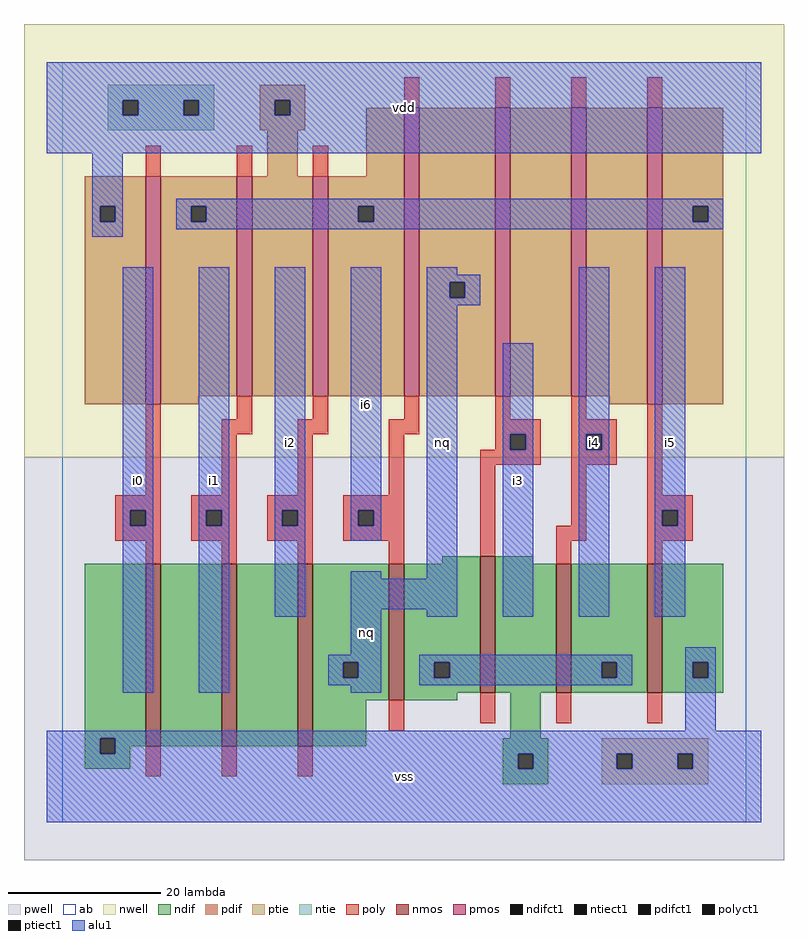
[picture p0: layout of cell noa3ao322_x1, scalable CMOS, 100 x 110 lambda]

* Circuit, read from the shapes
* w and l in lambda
.subckt noa3ao322_x1 i0 i1 i2 i3 i4 i5 i6 nq vdd vss
M1 n1 i0 vss vss nfet w=24 l=2
M2 n2 i1 n1 vss nfet w=24 l=2
M3 nq i2 n2 vss nfet w=24 l=2
M4 n3 i6 nq vss nfet w=18 l=2
M5 vss i3 n3 vss nfet w=18 l=2
M6 n3 i4 vss vss nfet w=17 l=2
M7 vss i5 n3 vss nfet w=17 l=2
M8 n4 i0 vdd vdd pfet w=30 l=2
M9 vdd i1 n4 vdd pfet w=29 l=2
M10 n4 i2 vdd vdd pfet w=29 l=2
M11 nq i6 n4 vdd pfet w=38 l=2
M12 n5 i3 nq vdd pfet w=38 l=2
M13 n6 i4 n5 vdd pfet w=38 l=2
M14 n4 i5 n6 vdd pfet w=39 l=2
.ends

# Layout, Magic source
magic
tech scmos
<< ab >>
rect 0 0 90 100
<< nwell >>
rect -5 48 95 105
<< pwell >>
rect -5 -5 95 48
<< poly >>
rect 45 94 47 98
rect 57 94 59 98
rect 67 94 69 98
rect 77 94 79 98
rect 11 85 13 89
rect 23 85 25 89
rect 33 85 35 89
rect 11 43 13 55
rect 23 53 25 56
rect 33 53 35 56
rect 45 53 47 56
rect 21 51 25 53
rect 31 51 35 53
rect 43 51 47 53
rect 57 53 59 56
rect 67 53 69 56
rect 57 51 63 53
rect 21 43 23 51
rect 31 43 33 51
rect 43 43 45 51
rect 57 49 59 51
rect 61 49 63 51
rect 7 41 13 43
rect 7 39 9 41
rect 11 39 13 41
rect 7 37 13 39
rect 17 41 23 43
rect 17 39 19 41
rect 21 39 23 41
rect 17 37 23 39
rect 27 41 33 43
rect 27 39 29 41
rect 31 39 33 41
rect 27 37 33 39
rect 37 41 45 43
rect 37 39 39 41
rect 41 39 45 41
rect 37 37 45 39
rect 11 34 13 37
rect 21 34 23 37
rect 31 34 33 37
rect 43 34 45 37
rect 55 47 63 49
rect 67 51 73 53
rect 67 49 69 51
rect 71 49 73 51
rect 67 47 73 49
rect 55 35 57 47
rect 67 39 69 47
rect 65 37 69 39
rect 77 43 79 55
rect 77 41 83 43
rect 77 39 79 41
rect 81 39 83 41
rect 77 37 83 39
rect 65 34 67 37
rect 77 34 79 37
rect 43 12 45 16
rect 55 13 57 17
rect 65 13 67 17
rect 77 13 79 17
rect 11 6 13 10
rect 21 6 23 10
rect 31 6 33 10
<< ndif >>
rect 50 34 55 35
rect 3 11 11 34
rect 3 9 5 11
rect 7 10 11 11
rect 13 10 21 34
rect 23 10 31 34
rect 33 21 43 34
rect 33 19 37 21
rect 39 19 43 21
rect 33 16 43 19
rect 45 21 55 34
rect 45 19 49 21
rect 51 19 55 21
rect 45 17 55 19
rect 57 34 62 35
rect 57 17 65 34
rect 67 21 77 34
rect 67 19 71 21
rect 73 19 77 21
rect 67 17 77 19
rect 79 21 87 34
rect 79 19 83 21
rect 85 19 87 21
rect 79 17 87 19
rect 45 16 52 17
rect 33 10 40 16
rect 59 11 63 17
rect 7 9 9 10
rect 3 7 9 9
rect 58 9 64 11
rect 58 7 60 9
rect 62 7 64 9
rect 58 5 64 7
<< pdif >>
rect 26 95 32 97
rect 26 93 28 95
rect 30 93 32 95
rect 26 91 32 93
rect 27 85 31 91
rect 40 85 45 94
rect 3 81 11 85
rect 3 79 5 81
rect 7 79 11 81
rect 3 55 11 79
rect 13 81 23 85
rect 13 79 17 81
rect 19 79 23 81
rect 13 56 23 79
rect 25 56 33 85
rect 35 81 45 85
rect 35 79 39 81
rect 41 79 45 81
rect 35 56 45 79
rect 47 71 57 94
rect 47 69 51 71
rect 53 69 57 71
rect 47 56 57 69
rect 59 56 67 94
rect 69 56 77 94
rect 13 55 18 56
rect 72 55 77 56
rect 79 81 87 94
rect 79 79 83 81
rect 85 79 87 81
rect 79 55 87 79
<< alu1 >>
rect -2 95 92 100
rect -2 93 8 95
rect 10 93 16 95
rect 18 93 28 95
rect 30 93 92 95
rect -2 88 92 93
rect 4 81 8 88
rect 4 79 5 81
rect 7 79 8 81
rect 4 77 8 79
rect 15 81 87 82
rect 15 79 17 81
rect 19 79 39 81
rect 41 79 83 81
rect 85 79 87 81
rect 15 78 87 79
rect 8 41 12 73
rect 8 39 9 41
rect 11 39 12 41
rect 8 17 12 39
rect 18 41 22 73
rect 18 39 19 41
rect 21 39 22 41
rect 18 17 22 39
rect 28 41 32 73
rect 28 39 29 41
rect 31 39 32 41
rect 28 27 32 39
rect 38 41 42 73
rect 38 39 39 41
rect 41 39 42 41
rect 38 37 42 39
rect 48 72 52 73
rect 48 71 55 72
rect 48 69 51 71
rect 53 69 55 71
rect 48 68 55 69
rect 38 32 42 33
rect 48 32 52 68
rect 38 28 52 32
rect 38 22 42 28
rect 48 27 52 28
rect 58 51 62 63
rect 58 49 59 51
rect 61 49 62 51
rect 58 27 62 49
rect 68 51 72 73
rect 68 49 69 51
rect 71 49 72 51
rect 68 27 72 49
rect 78 41 82 73
rect 78 39 79 41
rect 81 39 82 41
rect 78 27 82 39
rect 35 21 42 22
rect 35 19 37 21
rect 39 19 42 21
rect 35 18 42 19
rect 47 21 75 22
rect 47 19 49 21
rect 51 19 71 21
rect 73 19 75 21
rect 47 18 75 19
rect 82 21 86 23
rect 82 19 83 21
rect 85 19 86 21
rect 38 17 42 18
rect 82 12 86 19
rect -2 11 92 12
rect -2 9 5 11
rect 7 9 92 11
rect -2 7 60 9
rect 62 7 73 9
rect 75 7 81 9
rect 83 7 92 9
rect -2 0 92 7
<< ptie >>
rect 71 9 85 11
rect 71 7 73 9
rect 75 7 81 9
rect 83 7 85 9
rect 71 5 85 7
<< ntie >>
rect 6 95 20 97
rect 6 93 8 95
rect 10 93 16 95
rect 18 93 20 95
rect 6 91 20 93
<< nmos >>
rect 11 10 13 34
rect 21 10 23 34
rect 31 10 33 34
rect 43 16 45 34
rect 55 17 57 35
rect 65 17 67 34
rect 77 17 79 34
<< pmos >>
rect 11 55 13 85
rect 23 56 25 85
rect 33 56 35 85
rect 45 56 47 94
rect 57 56 59 94
rect 67 56 69 94
rect 77 55 79 94
<< polyct1 >>
rect 59 49 61 51
rect 9 39 11 41
rect 19 39 21 41
rect 29 39 31 41
rect 39 39 41 41
rect 69 49 71 51
rect 79 39 81 41
<< ndifct1 >>
rect 5 9 7 11
rect 37 19 39 21
rect 49 19 51 21
rect 71 19 73 21
rect 83 19 85 21
rect 60 7 62 9
<< ntiect1 >>
rect 8 93 10 95
rect 16 93 18 95
<< ptiect1 >>
rect 73 7 75 9
rect 81 7 83 9
<< pdifct1 >>
rect 28 93 30 95
rect 5 79 7 81
rect 17 79 19 81
rect 39 79 41 81
rect 51 69 53 71
rect 83 79 85 81
<< labels >>
rlabel alu1 10 45 10 45 6 i0
rlabel alu1 40 25 40 25 6 nq
rlabel alu1 20 45 20 45 6 i1
rlabel alu1 30 50 30 50 6 i2
rlabel alu1 40 55 40 55 6 i6
rlabel alu1 45 6 45 6 6 vss
rlabel alu1 60 45 60 45 6 i3
rlabel alu1 50 50 50 50 6 nq
rlabel alu1 45 94 45 94 6 vdd
rlabel alu1 80 50 80 50 6 i5
rlabel polyct1 70 50 70 50 6 i4
<< end >>
